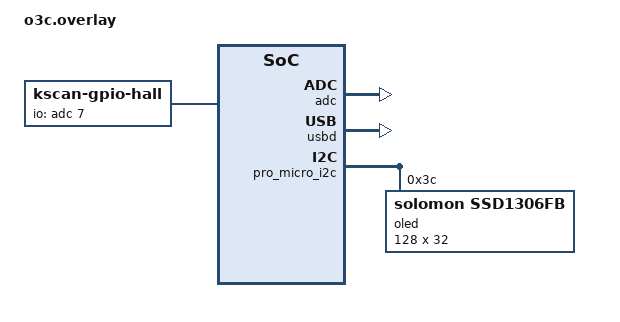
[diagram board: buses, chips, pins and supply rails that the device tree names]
/*
 * Copyright (c) 2020 The ZMK Contributors
 *
 * SPDX-License-Identifier: MIT
 */

#include <dt-bindings/zmk/matrix_transform.h>
#include "o3c-layouts.dtsi"

/ {

	chosen {
		zmk,kscan = &kscan0;
	    zephyr,display = &oled;
        zmk,physical-layout = &physical_layout0;
	};

	kscan0: kscan {
		compatible = "zmk,kscan-gpio-hall";
		label = "KSCAN";
		trigger_value = <35>;
		io-channels = <&adc 7>;
	};

    default_transform: keymap_transform_0 {
        compatible = "zmk,matrix-transform";
        columns = <2>;
        rows = <1>;
        map = <RC(0,0)>;
    };
};

&physical_layout0 {
    transform = <&default_transform>;
};

// Move to snippet
&adc {
    status = "okay";
};


zephyr_udc0: &usbd {
    status = "okay";
};


&pro_micro_i2c {
    status = "okay";

    oled: ssd1306@3c {
        compatible = "solomon,ssd1306fb";
        reg = <0x3c>;
        width = <128>;
        height = <32>;
        segment-offset = <0>;
        page-offset = <0>;
        display-offset = <0>;
        multiplex-ratio = <31>;
        segment-remap;
        com-invdir;
        com-sequential;
        inversion-on;
        prechargep = <0x22>;
    };
};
